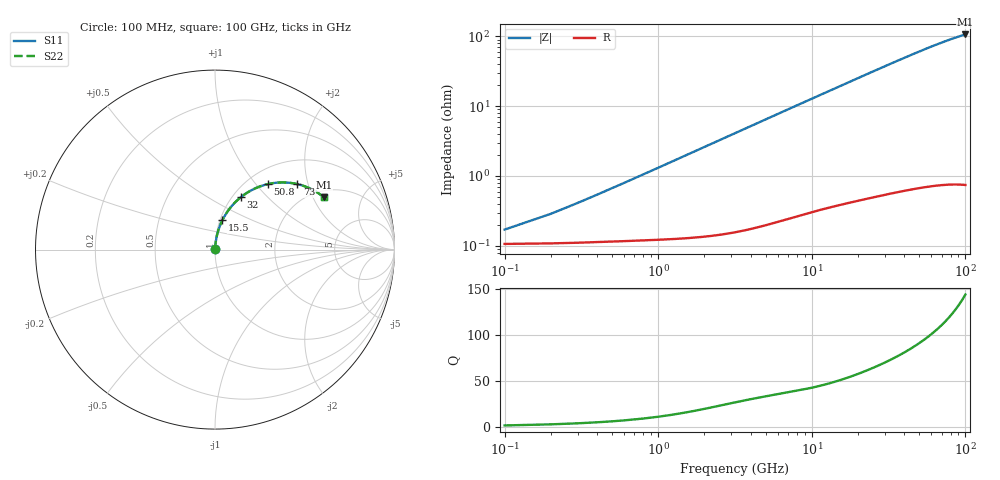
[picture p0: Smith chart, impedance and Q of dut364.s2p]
! Touchstone file exported from HFSS 2026.1.0
!  File:  C:/ffzhzh/LocalFiles/Ansys_Project_Files/temp_train_RDL_364_1783503452_9504.aedt
!  Generated:  05:38:45 PM Jul  8, 2026
!  Design:  RDL
!  Project:  temp_train_RDL_364_1783503452_9504
! Variables:
!  h_bsmrdl = 2um
!  h_ox = 20um
!  h_rdl = 5um
!  h_sub = 80um
!  h_tmrdl = 4.53um
!  h_tsv = 80um
!  h_via = 3um
!  l_bsmrdl = 300um
!  l_sub = 550.04um
!  l_tmrdl = 150.04um
!  m_sub = 200um
!  pitch = 58.95um
!  r_tsv = 6um
!  s_tmrdl = 10um
!  w_bsmrdl = 18um
!  w_sub = 500um
!  w_tmrdl = 12.41um
!  x_tsv_center1 = 156.245um
!  x_tsv_center2 = 474.245um
!  x_tsv_center3 = 636.695um
!  x_tsv_center4 = 954.695um
!  x_tsv_center5 = 1117.145um
!  x_tsv_center6 = 1435.145um
# GHz S MA R 50.000000
! Terminal data exported
! Port[1] = TM_RDL1_1_T1
! Port[2] = TM_RDL1_1_T2
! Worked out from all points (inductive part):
!   1000 points, 100 MHz to 100 GHz, reference 50 ohm
!   read as one part in series: L = 208 pH near 600 MHz
!   highest Q = 144 at 100 GHz (marker M1), where L = 170 pH
!   S11 on the Smith chart (normalised r, x): 100 MHz: 1.00, +0.00; 15.5 GHz: 1.03, +0.34; 32 GHz: 1.09, +0.71; 50.8 GHz: 1.23, +1.15; 73 GHz: 1.54, +1.71; 100 GHz: 2.28, +2.43
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0.1  0.001576 47.5  0.9989 -0.1  0.9989 -0.1  0.001576 47.5
! Gamma 0 0 0 0
! Port Impedance 50 0 50 0
0.4  0.004734 75.9  0.9989 -0.3  0.9989 -0.3  0.004734 75.9
0.8  0.009187 81.9  0.9988 -0.7  0.9988 -0.7  0.009187 81.9
1  0.01143 83.0  0.9987 -0.8  0.9987 -0.8  0.01143 83.0
1.3  0.01479 84.0  0.9986 -1.1  0.9986 -1.1  0.01479 84.0
1.7  0.01928 84.7  0.9985 -1.4  0.9985 -1.4  0.01928 84.7
2.3  0.02602 85.0  0.9983 -1.9  0.9983 -1.9  0.02602 85.0
3.7  0.04164 84.6  0.9975 -3.1  0.9975 -3.1  0.04164 84.6
5.7  0.06371 83.3  0.9958 -4.8  0.9958 -4.8  0.06371 83.3
8.2  0.09088 81.5  0.9932 -6.8  0.9932 -6.8  0.09088 81.5
11.5  0.1261 79.0  0.9888 -9.5  0.9888 -9.5  0.1261 79.0
15.5  0.1678 76.0  0.982 -12.7  0.982 -12.7  0.1678 76.0
16.8  0.1811 75.0  0.9795 -13.7  0.9795 -13.7  0.1811 75.0
23.6  0.2483 69.9  0.964 -19.0  0.964 -19.0  0.2483 69.9
32  0.325 63.8  0.9405 -25.3  0.9405 -25.3  0.325 63.8
33.4  0.337 62.8  0.9362 -26.3  0.9362 -26.3  0.337 62.8
50.1  0.463 51.7  0.8804 -37.6  0.8804 -37.6  0.463 51.7
50.8  0.4675 51.2  0.878 -38.0  0.878 -38.0  0.4675 51.2
66.7  0.5571 41.9  0.8242 -47.4  0.8242 -47.4  0.5571 41.9
73  0.5857 38.6  0.8043 -50.8  0.8043 -50.8  0.5857 38.6
83.4  0.6254 33.3  0.7741 -56.1  0.7741 -56.1  0.6254 33.3
100  0.6725 25.7  0.7339 -63.8  0.7339 -63.8  0.6725 25.7
